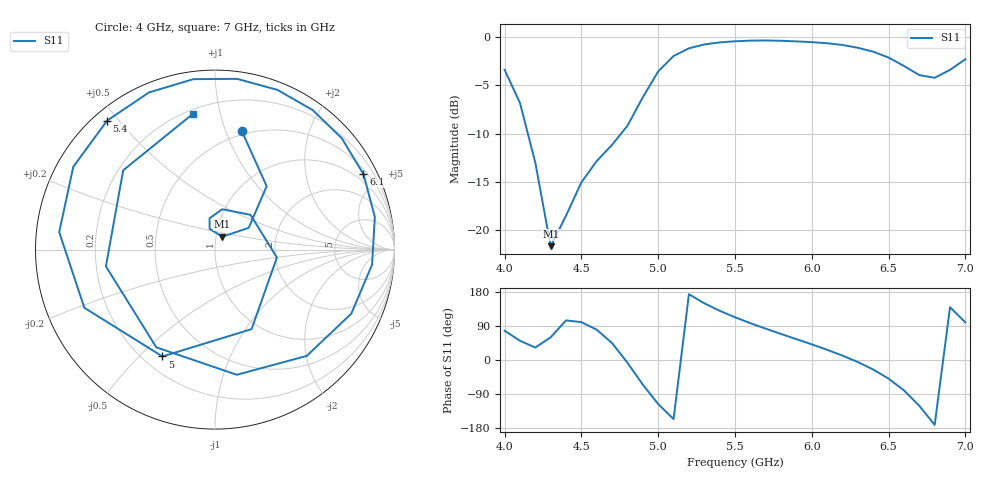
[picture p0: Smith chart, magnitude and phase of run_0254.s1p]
! Touchstone file exported from HFSS 2024.2.0
!  File:  C:/Users/wsak9/Desktop/Sim Fast/Widenad Patch/WP_AI_V1_sweep.aedt
!  Generated:  01:41:55 AM Oct 14, 2026
!  Design:  A1_model
!  Project:  WP_AI_V1_sweep
!  Setup:  Setup1
!  Solution:  Sweep
! Variables:
!  Air_gap = 4.38mm
!  Curve_Amp1 = 2.94
!  Curve_len1 = 1
!  Curve_pos = 12.995mm
!  Extra = 5.09mm
!  H_sub = 0.79mm
!  L_Patch = 21.99mm
!  L_Patch1 = 19.14mm
!  Sx = 4.51mm
!  Sy = 1.88mm
!  WS = 0.76mm
!  W_Patch = 15.86mm
!  W_Patch1 = 14.05mm
!Data is not renormalized
# GHz S MA
! Terminal data exported
! Port[1] = 1
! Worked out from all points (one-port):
!   31 points, 4 GHz to 7 GHz, reference per port
!   lowest |S11| = -21.6 dB at 4.3 GHz (marker M1), VSWR 1.18
!   |S11| at or under -10 dB: 4.151 GHz to 4.758 GHz (606.9 MHz wide, 13.6 % of centre)
!   S11 on the Smith chart (normalised r, x): 4 GHz: 0.47, +1.14; 5 GHz: 0.28, -0.59; 5.4 GHz: 0.04, +0.47; 6.1 GHz: 0.67, +4.07; 7 GHz: 0.22, +0.83
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4  0.6765 77.2
4.1  0.4556 50.8
4.2  0.2238 32.9
4.3  0.08281 60.0
4.4  0.1191 104.5
4.6  0.2284 79.8
4.7  0.2769 44.4
4.8  0.3478 -7.3
4.9  0.4877 -65.3
5  0.6636 -116.2
5.1  0.7968 -156.0
5.2  0.8734 173.6
5.3  0.9145 149.7
5.4  0.9369 129.9
5.5  0.9498 112.8
5.6  0.9572 97.2
5.7  0.9592 82.6
5.9  0.9488 55.0
6.1  0.9279 27.0
6.2  0.9089 11.5
6.3  0.8791 -5.5
6.4  0.839 -25.2
6.5  0.7823 -49.2
6.6  0.7079 -80.1
6.7  0.6351 -121.0
6.8  0.6149 -171.3
6.9  0.6759 139.2
7  0.7672 99.1
